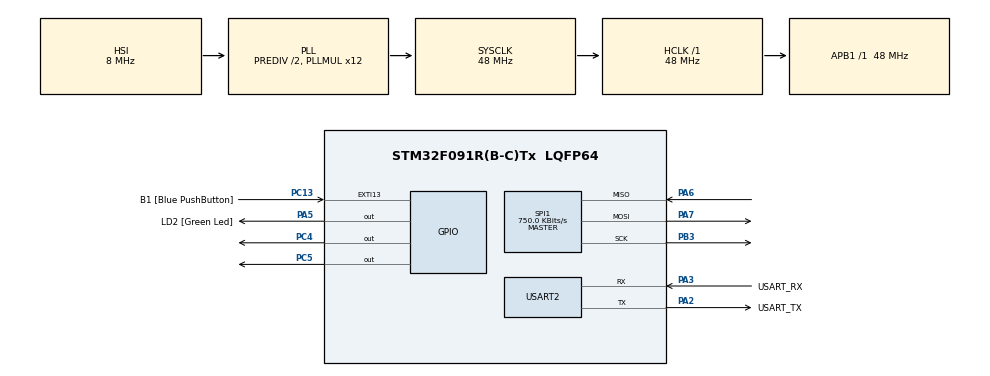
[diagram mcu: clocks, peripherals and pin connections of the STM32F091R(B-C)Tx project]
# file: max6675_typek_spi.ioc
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Mcu.Family=STM32F0
Mcu.Name=STM32F091R(B-C)Tx
Mcu.Package=LQFP64
PA13.GPIO_Label=TMS
PA13.Mode=Serial_Wire
PA13.Signal=SYS_SWDIO
PA14.GPIO_Label=TCK
PA14.Mode=Serial_Wire
PA14.Signal=SYS_SWCLK
PA2.GPIO_Label=USART_TX
PA2.GPIO_Mode=GPIO_MODE_AF_PP
PA2.GPIO_PuPd=GPIO_NOPULL
PA2.GPIO_Speed=GPIO_SPEED_FREQ_LOW
PA2.Mode=Asynchronous
PA2.Signal=USART2_TX
PA3.GPIO_Label=USART_RX
PA3.GPIO_Mode=GPIO_MODE_AF_PP
PA3.GPIO_PuPd=GPIO_NOPULL
PA3.GPIO_Speed=GPIO_SPEED_FREQ_LOW
PA3.Mode=Asynchronous
PA3.Signal=USART2_RX
PA5.GPIO_Label=LD2 [Green Led]
PA5.GPIO_Mode=GPIO_MODE_OUTPUT_PP
PA5.GPIO_PuPd=GPIO_NOPULL
PA5.GPIO_Speed=GPIO_SPEED_FREQ_LOW
PA5.Signal=GPIO_Output
PA6.Mode=Full_Duplex_Master
PA6.Signal=SPI1_MISO
PA7.Mode=Full_Duplex_Master
PA7.Signal=SPI1_MOSI
PB3.Mode=Full_Duplex_Master
PB3.Signal=SPI1_SCK
PC13.GPIO_Label=B1 [Blue PushButton]
PC13.GPIO_ModeDefaultEXTI=GPIO_MODE_IT_FALLING
PC13.Signal=GPXTI13
PC14OSC32_IN.Mode=LSE-External-Oscillator
PC14OSC32_IN.Signal=RCC_OSC32_IN
PC15OSC32_OUT.Mode=LSE-External-Oscillator
PC15OSC32_OUT.Signal=RCC_OSC32_OUT
PC4.Signal=GPIO_Output
PC5.Signal=GPIO_Output
PF0-OSC_IN.Mode=HSE-External-Clock-Source
PF0-OSC_IN.Signal=RCC_OSC_IN
PF1-OSC_OUT.Signal=RCC_OSC_OUT
ProjectManager.HeapSize=0x200
ProjectManager.StackSize=0x400
ProjectManager.TargetToolchain=STM32CubeIDE
RCC.AHBFreq_Value=48000000
RCC.APB1Freq_Value=48000000
RCC.APB1TimFreq_Value=48000000
RCC.FLatency-AdvancedSettings=FLASH_LATENCY_1
RCC.HCLKFreq_Value=48000000
RCC.PLLDivider=RCC_PREDIV_DIV2
RCC.PLLMUL=RCC_PLL_MUL12
RCC.PREFETCH_ENABLE-AdvancedSettings=1
RCC.SYSCLKFreq_VALUE=48000000
RCC.SYSCLKSource=RCC_SYSCLKSOURCE_PLLCLK
SPI1.BaudRatePrescaler=SPI_BAUDRATEPRESCALER_64
SPI1.CalculateBaudRate=750.0 KBits/s
SPI1.DataSize=SPI_DATASIZE_16BIT
SPI1.Direction=SPI_DIRECTION_2LINES
SPI1.Mode=SPI_MODE_MASTER
SPI1.VirtualType=VM_MASTER
USART2.VirtualMode-Asynchronous=VM_ASYNC
board=NUCLEO-F091RC

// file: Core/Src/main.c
/* USER CODE BEGIN Header */
/**
  ******************************************************************************
  * @file           : main.c
  * @brief          : Main program body
  ******************************************************************************
  * @attention
  *
  * Copyright (c) 2022 STMicroelectronics.
  * All rights reserved.
  *
  * This software is licensed under terms that can be found in the LICENSE file
  * in the root directory of this software component.
  * If no LICENSE file comes with this software, it is provided AS-IS.
  *
  ******************************************************************************
  */
/* USER CODE END Header */
#include "main.h"

SPI_HandleTypeDef hspi1;

UART_HandleTypeDef huart2;

/* USER CODE BEGIN PV */
uint8_t spirx_buff[2];
uint8_t spirx_buff1[2];
uint16_t temp = 0;
uint16_t temperature = 0;
uint16_t temp1 = 0;
uint16_t temperature1 = 0;
int count,count1,count2;

/* USER CODE END PV */

void SystemClock_Config(void);
static void MX_GPIO_Init(void);
static void MX_USART2_UART_Init(void);
static void MX_SPI1_Init(void);

int main(void)
{
  /* USER CODE BEGIN 1 */
	/*uint16_t uart_buf[50];
	int uart_buf_len;
	uint16_t spi_data[2];
	spi_data[0] = 0;
	spi_data[1] = 1;
	int temperature; */

  /* USER CODE END 1 */

  /* MCU Configuration--------------------------------------------------------*/

  /* Reset of all peripherals, Initializes the Flash interface and the Systick. */
  HAL_Init();

  /* Configure the system clock */
  SystemClock_Config();

  /* Initialize all configured peripherals */
  MX_GPIO_Init();
  MX_USART2_UART_Init();
  MX_SPI1_Init();

  /* Infinite loop */
  /* USER CODE BEGIN WHILE */
  while (1)
  {
	  	  HAL_GPIO_WritePin(GPIOC, GPIO_PIN_4, GPIO_PIN_SET); //chip select
	  	  //HAL_GPIO_WritePin(GPIOC, GPIO_PIN_5, GPIO_PIN_SET);
	  	  HAL_Delay(1);
	  	  	  if(HAL_SPI_GetState(&hspi1) != HAL_SPI_STATE_BUSY_RX) // checking RX state
	  	  	  {
	  	  		  HAL_GPIO_WritePin(GPIOC,GPIO_PIN_4, GPIO_PIN_RESET);
	  	  		  //HAL_GPIO_WritePin(GPIOC,GPIO_PIN_5, GPIO_PIN_RESET);// chip select
	  	  		  HAL_Delay(1);
	  	  		  count ++;
	  	  		  if(HAL_SPI_GetState(&hspi1) == HAL_SPI_STATE_READY)
	  	  		  {
	  	  			  count1++;
	  	  			  if(HAL_SPI_Receive(&hspi1,spirx_buff,2,50)!= HAL_OK)
	  	  			  {
	  	  				  count2++;
	  	  				  Error_Handler();
	  	  			  }
	  	  		  }
	  	  		  HAL_GPIO_WritePin(GPIOC,GPIO_PIN_4,GPIO_PIN_SET);
	  	  		  //HAL_GPIO_WritePin(GPIOC,GPIO_PIN_5,GPIO_PIN_SET);
	  	  		  HAL_Delay(1);
	  	  		  temp = spirx_buff[1] << 8;
	  	  		  temp = temp|spirx_buff[0];
	  	  		  temp = temp>>3;
	  	  		  temperature = temp  * 0.25;
	  	  		  HAL_Delay(500);
	  	  	  }
	  	  	 HAL_GPIO_WritePin(GPIOC, GPIO_PIN_5, GPIO_PIN_SET); //chip select
	  	  		  	  //HAL_GPIO_WritePin(GPIOC, GPIO_PIN_5, GPIO_PIN_SET);
	  	  		  	  HAL_Delay(1);
	  	  		  	  	  if(HAL_SPI_GetState(&hspi1) != HAL_SPI_STATE_BUSY_RX) // checking RX state
	  	  		  	  	  {
	  	  		  	  		  HAL_GPIO_WritePin(GPIOC,GPIO_PIN_5, GPIO_PIN_RESET);
	  	  		  	  		  //HAL_GPIO_WritePin(GPIOC,GPIO_PIN_5, GPIO_PIN_RESET);// chip select
	  	  		  	  		  HAL_Delay(1);
	  	  		  	  		  count ++;
	  	  		  	  		  if(HAL_SPI_GetState(&hspi1) == HAL_SPI_STATE_READY)
	  	  		  	  		  {
	  	  		  	  			  count1++;
	  	  		  	  			  if(HAL_SPI_Receive(&hspi1,spirx_buff1,2,50)!= HAL_OK)
	  	  		  	  			  {
	  	  		  	  				  count2++;
	  	  		  	  				  Error_Handler();
	  	  		  	  			  }
	  	  		  	  		  }
	  	  		  	  		  HAL_GPIO_WritePin(GPIOC,GPIO_PIN_5,GPIO_PIN_SET);
	  	  		  	  		  //HAL_GPIO_WritePin(GPIOC,GPIO_PIN_5,GPIO_PIN_SET);
	  	  		  	  		  HAL_Delay(1);
	  	  		  	  		  temp1 = spirx_buff1[1] << 8;
	  	  		  	  		  temp1 = temp1|spirx_buff1[0];
	  	  		  	  		  temp1 = temp1>>3;
	  	  		  	  		  temperature1 = temp1  * 0.25;
	  	  		  	  		  HAL_Delay(500);
	  	  		  	  	  }

    /* USER CODE END WHILE */

  }
}

void SystemClock_Config(void)
{
  RCC_OscInitTypeDef RCC_OscInitStruct = {0};
  RCC_ClkInitTypeDef RCC_ClkInitStruct = {0};
  RCC_PeriphCLKInitTypeDef PeriphClkInit = {0};

  /** Initializes the RCC Oscillators according to the specified parameters
  * in the RCC_OscInitTypeDef structure.
  */
  RCC_OscInitStruct.OscillatorType = RCC_OSCILLATORTYPE_HSI;
  RCC_OscInitStruct.HSIState = RCC_HSI_ON;
  RCC_OscInitStruct.HSICalibrationValue = RCC_HSICALIBRATION_DEFAULT;
  RCC_OscInitStruct.PLL.PLLState = RCC_PLL_ON;
  RCC_OscInitStruct.PLL.PLLSource = RCC_PLLSOURCE_HSI;
  RCC_OscInitStruct.PLL.PLLMUL = RCC_PLL_MUL12;
  RCC_OscInitStruct.PLL.PREDIV = RCC_PREDIV_DIV2;
  if (HAL_RCC_OscConfig(&RCC_OscInitStruct) != HAL_OK)
  {
    Error_Handler();
  }
  /** Initializes the CPU, AHB and APB buses clocks
  */
  RCC_ClkInitStruct.ClockType = RCC_CLOCKTYPE_HCLK|RCC_CLOCKTYPE_SYSCLK
                              |RCC_CLOCKTYPE_PCLK1;
  RCC_ClkInitStruct.SYSCLKSource = RCC_SYSCLKSOURCE_PLLCLK;
  RCC_ClkInitStruct.AHBCLKDivider = RCC_SYSCLK_DIV1;
  RCC_ClkInitStruct.APB1CLKDivider = RCC_HCLK_DIV1;

  if (HAL_RCC_ClockConfig(&RCC_ClkInitStruct, FLASH_LATENCY_1) != HAL_OK)
  {
    Error_Handler();
  }
  PeriphClkInit.PeriphClockSelection = RCC_PERIPHCLK_USART2;
  PeriphClkInit.Usart2ClockSelection = RCC_USART2CLKSOURCE_PCLK1;
  if (HAL_RCCEx_PeriphCLKConfig(&PeriphClkInit) != HAL_OK)
  {
    Error_Handler();
  }
}

static void MX_SPI1_Init(void)
{

  /* SPI1 parameter configuration*/
  hspi1.Instance = SPI1;
  hspi1.Init.Mode = SPI_MODE_MASTER;
  hspi1.Init.Direction = SPI_DIRECTION_2LINES;
  hspi1.Init.DataSize = SPI_DATASIZE_16BIT;
  hspi1.Init.CLKPolarity = SPI_POLARITY_LOW;
  hspi1.Init.CLKPhase = SPI_PHASE_1EDGE;
  hspi1.Init.NSS = SPI_NSS_SOFT;
  hspi1.Init.BaudRatePrescaler = SPI_BAUDRATEPRESCALER_64;
  hspi1.Init.FirstBit = SPI_FIRSTBIT_MSB;
  hspi1.Init.TIMode = SPI_TIMODE_DISABLE;
  hspi1.Init.CRCCalculation = SPI_CRCCALCULATION_DISABLE;
  hspi1.Init.CRCPolynomial = 7;
  hspi1.Init.CRCLength = SPI_CRC_LENGTH_DATASIZE;
  hspi1.Init.NSSPMode = SPI_NSS_PULSE_ENABLE;
  if (HAL_SPI_Init(&hspi1) != HAL_OK)
  {
    Error_Handler();
  }

}

static void MX_USART2_UART_Init(void)
{

  huart2.Instance = USART2;
  huart2.Init.BaudRate = 115200;
  huart2.Init.WordLength = UART_WORDLENGTH_8B;
  huart2.Init.StopBits = UART_STOPBITS_1;
  huart2.Init.Parity = UART_PARITY_NONE;
  huart2.Init.Mode = UART_MODE_TX_RX;
  huart2.Init.HwFlowCtl = UART_HWCONTROL_NONE;
  huart2.Init.OverSampling = UART_OVERSAMPLING_16;
  huart2.Init.OneBitSampling = UART_ONE_BIT_SAMPLE_DISABLE;
  huart2.AdvancedInit.AdvFeatureInit = UART_ADVFEATURE_NO_INIT;
  if (HAL_UART_Init(&huart2) != HAL_OK)
  {
    Error_Handler();
  }

}

static void MX_GPIO_Init(void)
{
  GPIO_InitTypeDef GPIO_InitStruct = {0};

  /* GPIO Ports Clock Enable */
  __HAL_RCC_GPIOC_CLK_ENABLE();
  __HAL_RCC_GPIOF_CLK_ENABLE();
  __HAL_RCC_GPIOA_CLK_ENABLE();
  __HAL_RCC_GPIOB_CLK_ENABLE();

  /*Configure GPIO pin Output Level */
  HAL_GPIO_WritePin(LD2_GPIO_Port, LD2_Pin, GPIO_PIN_RESET);

  /*Configure GPIO pin Output Level */
  HAL_GPIO_WritePin(GPIOC, GPIO_PIN_4, GPIO_PIN_RESET);

  /*Configure GPIO pin : B1_Pin */
  GPIO_InitStruct.Pin = B1_Pin;
  GPIO_InitStruct.Mode = GPIO_MODE_IT_FALLING;
  GPIO_InitStruct.Pull = GPIO_NOPULL;
  HAL_GPIO_Init(B1_GPIO_Port, &GPIO_InitStruct);

  /*Configure GPIO pin : LD2_Pin */
  GPIO_InitStruct.Pin = LD2_Pin;
  GPIO_InitStruct.Mode = GPIO_MODE_OUTPUT_PP;
  GPIO_InitStruct.Pull = GPIO_NOPULL;
  GPIO_InitStruct.Speed = GPIO_SPEED_FREQ_LOW;
  HAL_GPIO_Init(LD2_GPIO_Port, &GPIO_InitStruct);

  /*Configure GPIO pin : PC4 */
  GPIO_InitStruct.Pin = GPIO_PIN_4;
  GPIO_InitStruct.Mode = GPIO_MODE_OUTPUT_PP;
  GPIO_InitStruct.Pull = GPIO_NOPULL;
  GPIO_InitStruct.Speed = GPIO_SPEED_FREQ_LOW;
  HAL_GPIO_Init(GPIOC, &GPIO_InitStruct);

}

void Error_Handler(void)
{
  __disable_irq();
  while (1)
  {
  }
}
